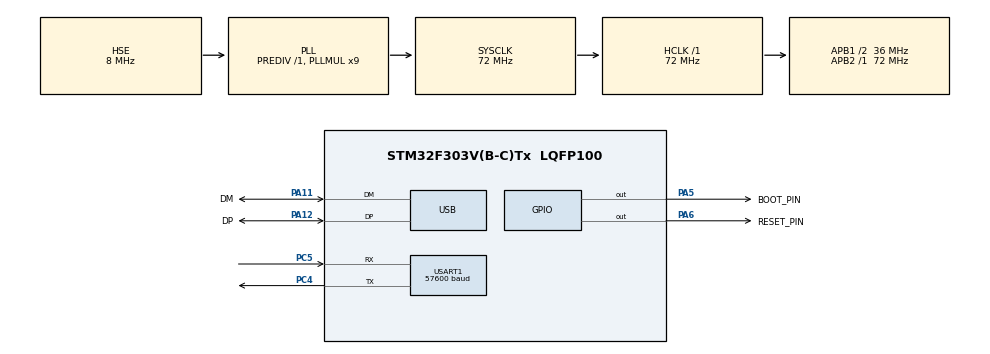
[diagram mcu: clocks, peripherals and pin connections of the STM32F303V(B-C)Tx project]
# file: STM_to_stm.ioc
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Mcu.Family=STM32F3
Mcu.Name=STM32F303V(B-C)Tx
Mcu.Package=LQFP100
NVIC.PriorityGroup=NVIC_PRIORITYGROUP_0
NVIC.USART1_IRQn=true\:0\:0\:false\:false\:true\:true
NVIC.USB_LP_CAN_RX0_IRQn=true\:0\:0\:false\:false\:true\:false
PA11.GPIO_Label=DM
PA11.Mode=Device
PA11.Signal=USB_DM
PA12.GPIO_Label=DP
PA12.Mode=Device
PA12.Signal=USB_DP
PA13.GPIO_Label=SWDIO
PA13.Mode=Serial_Wire
PA13.Signal=SYS_JTMS-SWDIO
PA14.GPIO_Label=SWCLK
PA14.Mode=Serial_Wire
PA14.Signal=SYS_JTCK-SWCLK
PA5.GPIO_Label=BOOT_PIN
PA5.Signal=GPIO_Output
PA6.GPIO_Label=RESET_PIN
PA6.Signal=GPIO_Output
PB3.GPIO_Label=SWO
PB3.Signal=SYS_JTDO-TRACESWO
PC14-OSC32_IN.GPIO_Label=OSC32_IN
PC14-OSC32_IN.Signal=RCC_OSC32_IN
PC15-OSC32_OUT.GPIO_Label=OSC32_OUT
PC15-OSC32_OUT.Signal=RCC_OSC32_OUT
PC4.Mode=Asynchronous
PC4.Signal=USART1_TX
PC5.Mode=Asynchronous
PC5.Signal=USART1_RX
PF0-OSC_IN.GPIO_Label=OSC_IN
PF0-OSC_IN.Mode=HSE-External-Clock-Source
PF0-OSC_IN.Signal=RCC_OSC_IN
PF1-OSC_OUT.GPIO_Label=OSC_OUT
PF1-OSC_OUT.Signal=RCC_OSC_OUT
ProjectManager.HeapSize=0x200
ProjectManager.StackSize=0x400
ProjectManager.TargetToolchain=TrueSTUDIO
RCC.AHBFreq_Value=72000000
RCC.APB1CLKDivider=RCC_HCLK_DIV2
RCC.APB1Freq_Value=36000000
RCC.APB1TimFreq_Value=72000000
RCC.APB2Freq_Value=72000000
RCC.APB2TimFreq_Value=72000000
RCC.CortexFreq_Value=72000000
RCC.HCLKFreq_Value=72000000
RCC.HSE_VALUE=8000000
RCC.HSI_VALUE=8000000
RCC.LSE_VALUE=32768
RCC.PLLMUL=RCC_PLL_MUL9
RCC.PRESCALERUSB=RCC_USBCLKSOURCE_PLL_DIV1_5
RCC.SYSCLKFreq_VALUE=72000000
RCC.SYSCLKSourceVirtual=RCC_SYSCLKSOURCE_PLLCLK
RCC.USBFreq_Value=48000000
USART1.BaudRate=57600
USART1.Parity=PARITY_EVEN
USART1.VirtualMode-Asynchronous=VM_ASYNC
USART1.WordLength=WORDLENGTH_9B
USB_DEVICE.CLASS_NAME_FS=CDC
USB_DEVICE.VirtualMode=Cdc
USB_DEVICE.VirtualModeFS=Cdc_FS
VP_USB_DEVICE_VS_USB_DEVICE_CDC_FS.Mode=CDC_FS
board=STM32F3DISCOVERY

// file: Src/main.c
/* USER CODE BEGIN Header */
/**
  ******************************************************************************
  * @file           : main.c
  * @brief          : Main program body
  ******************************************************************************
  * This notice applies to any and all portions of this file
  * that are not between comment pairs USER CODE BEGIN and
  * USER CODE END. Other portions of this file, whether
  * inserted by the user or by software development tools
  * are owned by their respective copyright owners.
  *
  * Copyright (c) 2019 STMicroelectronics International N.V.
  * All rights reserved.
  *
  * Redistribution and use in source and binary forms, with or without
  * modification, are permitted, provided that the following conditions are met:
  *
  * 1. Redistribution of source code must retain the above copyright notice,
  *    this list of conditions and the following disclaimer.
  * 2. Redistributions in binary form must reproduce the above copyright notice,
  *    this list of conditions and the following disclaimer in the documentation
  *    and/or other materials provided with the distribution.
  * 3. Neither the name of STMicroelectronics nor the names of other
  *    contributors to this software may be used to endorse or promote products
  *    derived from this software without specific written permission.
  * 4. This software, including modifications and/or derivative works of this
  *    software, must execute solely and exclusively on microcontroller or
  *    microprocessor devices manufactured by or for STMicroelectronics.
  * 5. Redistribution and use of this software other than as permitted under
  *    this license is void and will automatically terminate your rights under
  *    this license.
  *
  * THIS SOFTWARE IS PROVIDED BY STMICROELECTRONICS AND CONTRIBUTORS "AS IS"
  * AND ANY EXPRESS, IMPLIED OR STATUTORY WARRANTIES, INCLUDING, BUT NOT
  * LIMITED TO, THE IMPLIED WARRANTIES OF MERCHANTABILITY, FITNESS FOR A
  * PARTICULAR PURPOSE AND NON-INFRINGEMENT OF THIRD PARTY INTELLECTUAL PROPERTY
  * RIGHTS ARE DISCLAIMED TO THE FULLEST EXTENT PERMITTED BY LAW. IN NO EVENT
  * SHALL STMICROELECTRONICS OR CONTRIBUTORS BE LIABLE FOR ANY DIRECT, INDIRECT,
  * INCIDENTAL, SPECIAL, EXEMPLARY, OR CONSEQUENTIAL DAMAGES (INCLUDING, BUT NOT
  * LIMITED TO, PROCUREMENT OF SUBSTITUTE GOODS OR SERVICES; LOSS OF USE, DATA,
  * OR PROFITS; OR BUSINESS INTERRUPTION) HOWEVER CAUSED AND ON ANY THEORY OF
  * LIABILITY, WHETHER IN CONTRACT, STRICT LIABILITY, OR TORT (INCLUDING
  * NEGLIGENCE OR OTHERWISE) ARISING IN ANY WAY OUT OF THE USE OF THIS SOFTWARE,
  * EVEN IF ADVISED OF THE POSSIBILITY OF SUCH DAMAGE.
  *
  ******************************************************************************
  */
/* USER CODE END Header */

#include "main.h"
#include "usb_device.h"

/* USER CODE BEGIN Includes */
#include "string.h"
#include "usbd_cdc_if.h"
#include "to_stm.h"
/* USER CODE END Includes */

UART_HandleTypeDef huart1;

/* USER CODE BEGIN PV */
extern USBD_HandleTypeDef hUsbDeviceFS;
char res;
volatile uint8_t flag = 0;
/* USER CODE END PV */

void SystemClock_Config(void);
static void MX_GPIO_Init(void);
static void MX_USART1_UART_Init(void);

/* USER CODE BEGIN 0 */

void USB_Receive_Callback(uint8_t* Buf)
{
	res = Buf[0];
	flag = 1;
}

/* USER CODE END 0 */

int main(void)
{

  /* MCU Configuration--------------------------------------------------------*/

  /* Reset of all peripherals, Initializes the Flash interface and the Systick. */
  HAL_Init();

  /* Configure the system clock */
  SystemClock_Config();

  /* Initialize all configured peripherals */
  MX_GPIO_Init();
  MX_USB_DEVICE_Init();
  MX_USART1_UART_Init();

  /* Infinite loop */
  /* USER CODE BEGIN WHILE */
  while (1)
  {
	  if(flag)
	  {
		  flag = 0;

		  /////////////// первый запрос для установки скорости (в ответ ждёт 0x79 - ACK-байт)///////////////
		  if(res == 'B') entr_bootloader();

		  ////////////////////////////////// boot_off_and_reset /////////////////////////////////////
		  else if(res == 'R') boot_off_and_reset();

		  ////////////////////////////////// Erase Memory /////////////////////////////////////
		  else if(res == 'E') erase_memory();

		  /////////////////////////////// Go Запуск программы //////////////////////////////////
		  else if(res == 'S') go_prog();

		  //////////////////////////////////////// Get ID //////////////////////////////////////////
		  else if(res == 'I') get_id();
	  }

    /* USER CODE END WHILE */

  }
}

void SystemClock_Config(void)
{
  RCC_OscInitTypeDef RCC_OscInitStruct = {0};
  RCC_ClkInitTypeDef RCC_ClkInitStruct = {0};
  RCC_PeriphCLKInitTypeDef PeriphClkInit = {0};

  /**Initializes the CPU, AHB and APB busses clocks
  */
  RCC_OscInitStruct.OscillatorType = RCC_OSCILLATORTYPE_HSE;
  RCC_OscInitStruct.HSEState = RCC_HSE_BYPASS;
  RCC_OscInitStruct.HSEPredivValue = RCC_HSE_PREDIV_DIV1;
  RCC_OscInitStruct.HSIState = RCC_HSI_ON;
  RCC_OscInitStruct.PLL.PLLState = RCC_PLL_ON;
  RCC_OscInitStruct.PLL.PLLSource = RCC_PLLSOURCE_HSE;
  RCC_OscInitStruct.PLL.PLLMUL = RCC_PLL_MUL9;
  if (HAL_RCC_OscConfig(&RCC_OscInitStruct) != HAL_OK)
  {
    Error_Handler();
  }
  /**Initializes the CPU, AHB and APB busses clocks
  */
  RCC_ClkInitStruct.ClockType = RCC_CLOCKTYPE_HCLK|RCC_CLOCKTYPE_SYSCLK
                              |RCC_CLOCKTYPE_PCLK1|RCC_CLOCKTYPE_PCLK2;
  RCC_ClkInitStruct.SYSCLKSource = RCC_SYSCLKSOURCE_PLLCLK;
  RCC_ClkInitStruct.AHBCLKDivider = RCC_SYSCLK_DIV1;
  RCC_ClkInitStruct.APB1CLKDivider = RCC_HCLK_DIV2;
  RCC_ClkInitStruct.APB2CLKDivider = RCC_HCLK_DIV1;

  if (HAL_RCC_ClockConfig(&RCC_ClkInitStruct, FLASH_LATENCY_2) != HAL_OK)
  {
    Error_Handler();
  }
  PeriphClkInit.PeriphClockSelection = RCC_PERIPHCLK_USB|RCC_PERIPHCLK_USART1;
  PeriphClkInit.Usart1ClockSelection = RCC_USART1CLKSOURCE_PCLK2;
  PeriphClkInit.USBClockSelection = RCC_USBCLKSOURCE_PLL_DIV1_5;
  if (HAL_RCCEx_PeriphCLKConfig(&PeriphClkInit) != HAL_OK)
  {
    Error_Handler();
  }
}

static void MX_USART1_UART_Init(void)
{

  huart1.Instance = USART1;
  huart1.Init.BaudRate = 57600;
  huart1.Init.WordLength = UART_WORDLENGTH_9B;
  huart1.Init.StopBits = UART_STOPBITS_1;
  huart1.Init.Parity = UART_PARITY_EVEN;
  huart1.Init.Mode = UART_MODE_TX_RX;
  huart1.Init.HwFlowCtl = UART_HWCONTROL_NONE;
  huart1.Init.OverSampling = UART_OVERSAMPLING_16;
  huart1.Init.OneBitSampling = UART_ONE_BIT_SAMPLE_DISABLE;
  huart1.AdvancedInit.AdvFeatureInit = UART_ADVFEATURE_NO_INIT;
  if (HAL_UART_Init(&huart1) != HAL_OK)
  {
    Error_Handler();
  }

}

static void MX_GPIO_Init(void)
{
  GPIO_InitTypeDef GPIO_InitStruct = {0};

  /* GPIO Ports Clock Enable */
  __HAL_RCC_GPIOC_CLK_ENABLE();
  __HAL_RCC_GPIOF_CLK_ENABLE();
  __HAL_RCC_GPIOA_CLK_ENABLE();
  __HAL_RCC_GPIOB_CLK_ENABLE();

  /*Configure GPIO pin Output Level */
  HAL_GPIO_WritePin(GPIOA, BOOT_PIN_Pin|RESET_PIN_Pin, GPIO_PIN_RESET);

  /*Configure GPIO pins : BOOT_PIN_Pin RESET_PIN_Pin */
  GPIO_InitStruct.Pin = BOOT_PIN_Pin|RESET_PIN_Pin;
  GPIO_InitStruct.Mode = GPIO_MODE_OUTPUT_PP;
  GPIO_InitStruct.Pull = GPIO_NOPULL;
  GPIO_InitStruct.Speed = GPIO_SPEED_FREQ_LOW;
  HAL_GPIO_Init(GPIOA, &GPIO_InitStruct);
  USB_reset();
}

/* USER CODE BEGIN 4 */
/*
 * Для плат не имеющих транзистора управляющего подтяжкой D+ читать здесь - https://stm32f.ru/index.php?topic=54.0
 *
 * Если перегенерировали проект в CubeMX В конец функции static void MX_GPIO_Init(void) добавьте USB_reset();
 *
 * */

void USB_reset(void)
{
	// инициализируем пин DP как выход
	GPIO_InitTypeDef GPIO_InitStruct = {0};
	GPIO_InitStruct.Pin = GPIO_PIN_12;
	GPIO_InitStruct.Mode = GPIO_MODE_OUTPUT_PP;
	GPIO_InitStruct.Speed = GPIO_SPEED_FREQ_LOW;
	HAL_GPIO_Init(GPIOA, &GPIO_InitStruct);
	HAL_GPIO_WritePin(GPIOA, GPIO_PIN_12, GPIO_PIN_RESET); // прижимаем DP к "земле"
	for(uint16_t i = 0; i < 2000; i++) {}; // немного ждём

	// переинициализируем пин для работы с USB
	GPIO_InitStruct.Mode = GPIO_MODE_INPUT;
	GPIO_InitStruct.Pull = GPIO_NOPULL;
	HAL_GPIO_Init(GPIOA, &GPIO_InitStruct);
	for(uint16_t i = 0; i < 2000; i++) {}; // немного ждём
}
/* USER CODE END 4 */

void Error_Handler(void)
{
}

/************************ (C) COPYRIGHT STMicroelectronics *****END OF FILE****/
